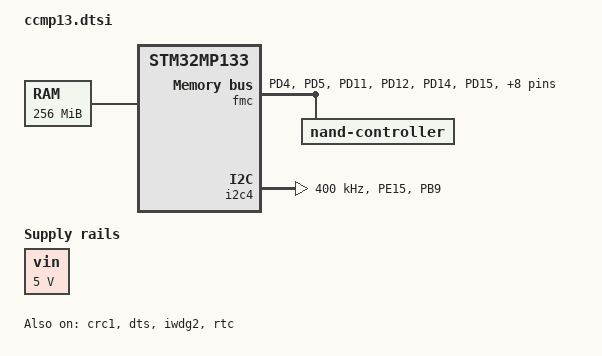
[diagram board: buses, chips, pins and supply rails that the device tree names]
/*
 * Copyright 2022, 2023 Digi International, Inc.
 *
 * The code contained herein is licensed under the GNU General Public
 * License. You may obtain a copy of the GNU General Public License
 * Version 2 or later at the following locations:
 *
 * http://www.opensource.org/licenses/gpl-license.html
 * http://www.gnu.org/copyleft/gpl.html
 */

#include "stm32mp133.dtsi"
#include <dt-bindings/gpio/gpio.h>
#include <dt-bindings/mfd/st,stpmic1.h>
#include <dt-bindings/pinctrl/stm32-pinfunc.h>

/ {
	aliases {
		i2c1 = &i2c1;
		i2c2 = &i2c2;
		i2c3 = &i2c3;
		i2c4 = &i2c4;
		i2c5 = &i2c5;
		mmc0 = &sdmmc2; /* Wireless */
	};

	memory@c0000000 {
		device_type = "memory";
		reg = <0xc0000000 0x10000000>; /* 256 MB */
	};

	reserved-memory {
		#address-cells = <1>;
		#size-cells = <1>;
		ranges;

		optee_framebuffer@cd000000 {
			reg = <0xcd000000 0x1000000>;
			no-map;
		};

		optee@ce000000 {
			reg = <0xce000000 0x2000000>;
			no-map;
		};
	};

	regulators {
		compatible = "simple-bus";
		#address-cells = <1>;
		#size-cells = <0>;

		reg_3v3_rf: regulator-som@1 {
			compatible = "regulator-fixed";
			reg = <1>;
			regulator-name = "3v3_rf";
			regulator-min-microvolt = <3300000>;
			regulator-max-microvolt = <3300000>;
			gpio = <&gpiob 7 GPIO_ACTIVE_HIGH>; /* 3V3_RF_EN */
			enable-active-high;
			startup-delay-us = <100000>;
			status = "disabled";
		};

		reg_rf_wl_en: regulator-som@2 {
			compatible = "regulator-fixed";
			reg = <2>;
			regulator-name = "rf_wl_en";
			regulator-min-microvolt = <3300000>;
			regulator-max-microvolt = <3300000>;
			gpio = <&gpiod 6 GPIO_ACTIVE_HIGH>; /* WL_REG_EN */
			enable-active-high;
			startup-delay-us = <100>;
			vin-supply = <&reg_3v3_rf>;
			status = "disabled";
		};
	};

	vin: vin {
		compatible = "regulator-fixed";
		regulator-name = "vin";
		regulator-min-microvolt = <5000000>;
		regulator-max-microvolt = <5000000>;
		regulator-always-on;
	};
};

/* Bluetooth */
&usart2 {
	pinctrl-names = "default", "sleep", "idle";
	pinctrl-0 = <&ccmp13_usart2_pins_a>;
	pinctrl-1 = <&ccmp13_usart2_sleep_pins_a>;
	pinctrl-2 = <&ccmp13_usart2_idle_pins_a>;
	uart-has-rtscts;
	status = "disabled";

	cyw4373_bt: cyw4373-bt {
		shutdown-gpios = <&gpiod 13 GPIO_ACTIVE_HIGH>;
		compatible = "brcm,bcm43438-bt";
		max-speed = <3000000>;
		vbat-supply = <&reg_3v3_rf>;
		vddio-supply = <&reg_3v3_rf>;
		status = "disabled";
	};
};

&crc1 {
	status = "okay";
};

&dma1 {
	sram = <&dma_pool>;
};

&dma2 {
	sram = <&dma_pool>;
};

&dts {
	status = "okay";
};

&fmc {
	pinctrl-names = "default", "sleep";
	pinctrl-0 = <&ccmp13_fmc_pins_a>;
	pinctrl-1 = <&ccmp13_fmc_sleep_pins_a>;
	status = "okay";

	nand-controller@4,0 {
		status = "okay";

		nand@0 {
			reg = <0>;
			nand-on-flash-bbt;
			#address-cells = <1>;
			#size-cells = <1>;
		};
	};
};

&i2c4 {
	clock-frequency = <400000>;
	pinctrl-names = "default", "sleep";
	pinctrl-0 = <&ccmp13_i2c4_pins_a>;
	pinctrl-1 = <&ccmp13_i2c4_sleep_pins_a>;
	i2c-scl-rising-time-ns = <185>;
	i2c-scl-falling-time-ns = <20>;
	status = "okay";
	/* spare dmas for other usage */
	/delete-property/dmas;
	/delete-property/dma-names;
};

&iwdg2 {
	timeout-sec = <32>;
	status = "okay";
};

&rtc {
	st,alarm = <RTC_OUT1>;
	pinctrl-0 = <&ccmp13_rtc_out1_pins_a>;
	pinctrl-names = "default";
	status = "okay";
};

&scmi_regu {
	scmi_vdd: voltd-vdd {
		voltd-name = "vdd";
		regulator-name = "vdd";
		regulator-always-on;
	};
	scmi_vdd_adc: voltd-vdd_adc {
		voltd-name = "vdd_adc";
		regulator-name = "vdd_adc";
	};
	scmi_ldo2: voltd-ldo2 {
		voltd-name = "ldo2";
		regulator-name = "ldo2";
	};
	scmi_vdd_usb: voltd-vdd_usb {
		voltd-name = "vdd_usb";
		regulator-name = "vdd_usb";
	};
	scmi_vdd_sd: voltd-vdd_sd {
		voltd-name = "vdd_sd";
		regulator-name = "vdd_sd";
	};
	scmi_ldo6: voltd-ldo6 {
		voltd-name = "ldo6";
		regulator-name = "ldo6";
	};
	scmi_vbus_otg: voltd-vbus_otg {
		voltd-name = "vbus_otg";
		regulator-name = "vbus_otg";
	};
	scmi_vbus_sw: voltd-vbus_sw {
		voltd-name = "vbus_sw";
		regulator-name = "vbus_sw";
	};
};

/* Wireless */
&sdmmc2 {
	arm,primecell-periphid = <0x10153180>;
	pinctrl-names = "default", "opendrain", "sleep";
	pinctrl-0 = <&sdmmc2_b4_pins_a &sdmmc2_clk_pins_a>;
	pinctrl-1 = <&sdmmc2_b4_od_pins_a &sdmmc2_clk_pins_a>;
	pinctrl-2 = <&sdmmc2_b4_sleep_pins_a>;
	non-removable;
	no-1-8-v;
	st,neg-edge;
	bus-width = <4>;
	vmmc-supply = <&reg_rf_wl_en>;
	status = "disabled";

	#address-cells = <1>;
	#size-cells = <0>;
	brcmf: bcrmf@1 {
		reg = <1>;
		compatible = "brcm,bcm4329-fmac";

		brcm,broken_sg_support;
		brcm,sd_head_align = /bits/  16 <8>;
		brcm,sd_sgentry_align = /bits/ 16 <32>;
	};
};

&sram {
	dma_pool: dma-sram@0 {
		reg = <0x0 0x4000>;
		pool;
	};
};

&pinctrl {
	ccmp13_fmc_pins_a: ccmp13_fmc-0 {
		pins1 {
			pinmux = <STM32_PINMUX('D', 4, AF12)>, /* FMC_NOE */
				 <STM32_PINMUX('D', 5, AF12)>, /* FMC_NWE */
				 <STM32_PINMUX('D', 11, AF12)>, /* FMC_A16_FMC_CLE */
				 <STM32_PINMUX('D', 12, AF12)>, /* FMC_A17_FMC_ALE */
				 <STM32_PINMUX('D', 14, AF12)>, /* FMC_D0 */
				 <STM32_PINMUX('D', 15, AF12)>, /* FMC_D1 */
				 <STM32_PINMUX('D', 0, AF12)>, /* FMC_D2 */
				 <STM32_PINMUX('D', 1, AF12)>, /* FMC_D3 */
				 <STM32_PINMUX('E', 7, AF12)>, /* FMC_D4 */
				 <STM32_PINMUX('E', 8, AF12)>, /* FMC_D5 */
				 <STM32_PINMUX('E', 9, AF12)>, /* FMC_D6 */
				 <STM32_PINMUX('E', 10, AF12)>, /* FMC_D7 */
				 <STM32_PINMUX('G', 9, AF12)>; /* FMC_NE2_FMC_NCE */
			bias-disable;
			drive-push-pull;
			slew-rate = <2>; /* OSPEEDR at High speed (0x10) */
		};
		pins2 {
			pinmux = <STM32_PINMUX('A', 9, AF10)>; /* FMC_NWAIT */
			bias-pull-up;
			slew-rate = <2>; /* OSPEEDR at High speed (0x10) */
		};
	};

	ccmp13_fmc_sleep_pins_a: ccmp13_fmc-sleep-0 {
		pins {
			pinmux = <STM32_PINMUX('D', 4, ANALOG)>, /* FMC_NOE */
				 <STM32_PINMUX('D', 5, ANALOG)>, /* FMC_NWE */
				 <STM32_PINMUX('D', 11, ANALOG)>, /* FMC_A16_FMC_CLE */
				 <STM32_PINMUX('D', 12, ANALOG)>, /* FMC_A17_FMC_ALE */
				 <STM32_PINMUX('D', 14, ANALOG)>, /* FMC_D0 */
				 <STM32_PINMUX('D', 15, ANALOG)>, /* FMC_D1 */
				 <STM32_PINMUX('D', 0, ANALOG)>, /* FMC_D2 */
				 <STM32_PINMUX('D', 1, ANALOG)>, /* FMC_D3 */
				 <STM32_PINMUX('E', 7, ANALOG)>, /* FMC_D4 */
				 <STM32_PINMUX('E', 8, ANALOG)>, /* FMC_D5 */
				 <STM32_PINMUX('E', 9, ANALOG)>, /* FMC_D6 */
				 <STM32_PINMUX('E', 10, ANALOG)>, /* FMC_D7 */
				 <STM32_PINMUX('A', 9, ANALOG)>, /* FMC_NWAIT */
				 <STM32_PINMUX('G', 9, ANALOG)>; /* FMC_NE2_FMC_NCE */
		};
	};

	ccmp13_i2c4_pins_a: ccmp13_i2c4-0 {
		pins {
			pinmux = <STM32_PINMUX('E', 15, AF6)>, /* I2C4_SCL */
				 <STM32_PINMUX('B', 9, AF6)>; /* I2C4_SDA */
			bias-disable;
			drive-open-drain;
			slew-rate = <0>;
		};
	};

	ccmp13_i2c4_sleep_pins_a: ccmp13_i2c4-sleep-0 {
		pins {
			pinmux = <STM32_PINMUX('E', 15, ANALOG)>, /* I2C4_SCL */
				 <STM32_PINMUX('B', 9, ANALOG)>; /* I2C4_SDA */
		};
	};

	ccmp13_rtc_out1_pins_a: ccmp13_rtc-out1-pins-0 {
		pins {
			pinmux = <STM32_PINMUX('C', 13, ANALOG)>; /* RTC_OUT1 */
		};
	};

	ccmp13_usart2_pins_a: ccmp13_usart2-0 {
		pins1 {
			pinmux = <STM32_PINMUX('H', 12, AF1)>, /* USART2_TX */
				 <STM32_PINMUX('A', 1, AF7)>; /* USART2_RTS */
			bias-disable;
			drive-push-pull;
			slew-rate = <0>;
		};
		pins2 {
			pinmux = <STM32_PINMUX('H', 8, AF3)>, /* USART2_RX */
				 <STM32_PINMUX('D', 3, AF3)>; /* USART2_CTS_NSS */
			bias-disable;
		};
	};

	ccmp13_usart2_idle_pins_a: ccmp13_usart2-idle-0 {
		pins1 {
			pinmux = <STM32_PINMUX('H', 12, ANALOG)>, /* USART2_TX */
				 <STM32_PINMUX('D', 3, ANALOG)>; /* USART2_CTS_NSS */
		};
		pins2 {
			pinmux = <STM32_PINMUX('A', 1, AF3)>; /* USART2_RTS */
			bias-disable;
			drive-push-pull;
			slew-rate = <0>;
		};
		pins3 {
			pinmux = <STM32_PINMUX('H', 8, AF3)>; /* USART2_RX */
			bias-disable;
		};
	};

	ccmp13_usart2_sleep_pins_a: ccmp13_usart2-sleep-0 {
		pins {
			pinmux = <STM32_PINMUX('H', 12, ANALOG)>, /* USART2_TX */
				 <STM32_PINMUX('H', 8, ANALOG)>, /* USART2_RTS */
				 <STM32_PINMUX('A', 1, ANALOG)>, /* USART2_RX */
				 <STM32_PINMUX('D', 3, ANALOG)>; /* USART2_CTS_NSS */
		};
	};
};
